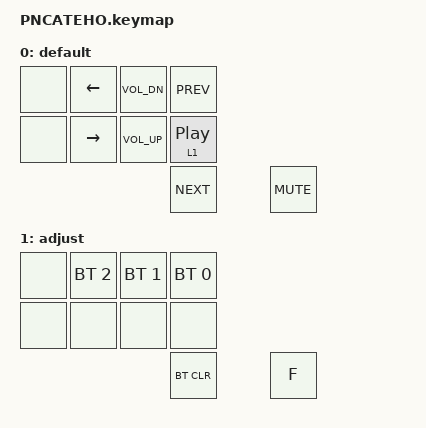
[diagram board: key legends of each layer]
/*
 * Copyright (c) 2020 The ZMK Contributors
 *
 * SPDX-License-Identifier: MIT
 */

#include <behaviors.dtsi>
#include <dt-bindings/zmk/bt.h>
#include <dt-bindings/zmk/keys.h>

&lt { quick_tap_ms = <200>; };

&mt { quick_tap_ms = <200>; };

/ {
    combos {
        compatible = "zmk,combos";

        Bootloader {
            bindings = <&bootloader>;
            key-positions = <4 5 6>;
            layers = <1>;
            timeout-ms = <1000>;
        };
    };

    behaviors {
        fullscreen: fullscreen {
            compatible = "zmk,behavior-tap-dance";
            label = "FULLSCREEN";
            #binding-cells = <0>;
            bindings = <&kp F>, <&kp F11>;
        };

        screen_mode: screen_mode {
            compatible = "zmk,behavior-hold-tap";
            label = "SCREEN_MODE";
            bindings = <&kp>, <&kp>;

            #binding-cells = <2>;
            tapping-term-ms = <300>;
        };
    };

    keymap {
        compatible = "zmk,keymap";

        default_layer {
            label = "default";
            bindings = <
&none  &kp LEFT   &kp C_VOL_DN     &kp C_PREV
&none  &kp RIGHT  &kp C_VOLUME_UP  &lt 1 C_PLAY_PAUSE
                                   &kp C_NEXT          &kp C_MUTE
            >;
        };

        adjust_layer {
            label = "adjust";
            bindings = <
&none  &bt BT_SEL 2  &bt BT_SEL 1  &bt BT_SEL 0
&none  &none         &none         &none
                                   &bt BT_CLR    &kp F
            >;
        };
    };
};
